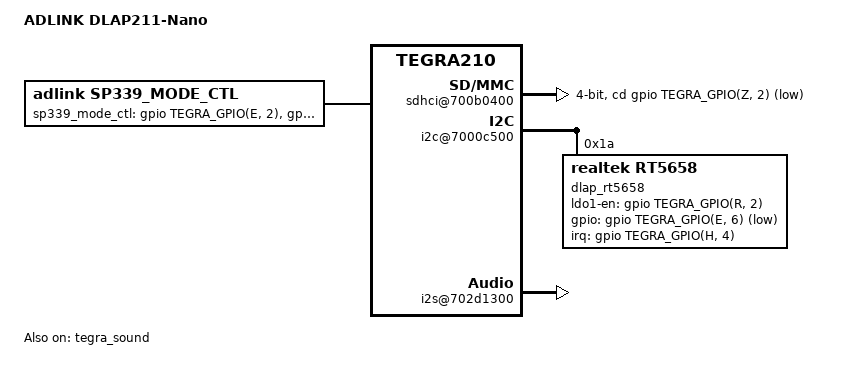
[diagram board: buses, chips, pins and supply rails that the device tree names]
/*
 * arch/arm64/boot/dts/tegra210-p3448-0002-p3449-0000-b00.dts
 *
 * Copyright (c) 2018-2019, NVIDIA CORPORATION.  All rights reserved.
 *
 * This program is free software; you can redistribute it and/or modify
 * it under the terms of the GNU General Public License as published by
 * the Free Software Foundation; version 2 of the License.
 *
 * This program is distributed in the hope that it will be useful, but WITHOUT
 * ANY WARRANTY; without even the implied warranty of MERCHANTABILITY or
 * FITNESS FOR A PARTICULAR PURPOSE.  See the GNU General Public License for
 * more details.
 *
 * You should have received a copy of the GNU General Public License along
 * with this program; if not, write to the Free Software Foundation, Inc.,
 * 51 Franklin Street, Fifth Floor, Boston, MA  02110-1301, USA.
 *
 */
#include <dt-bindings/sound/rt5659.h>

/ {
	model = "ADLINK DLAP211-Nano";

	pcie@1003000 {
		iommus = <&smmu TEGRA_SWGROUP_AFI>;
		iommu-map = <0x0 &smmu TEGRA_SWGROUP_AFI 0x1000>;
		iommu-map-mask = <0x0>;
	};

	sdhci@700b0400 {
		bus-width = <4>;
		cd-inverted;
		disable-wp;
		cd-gpios = <&gpio TEGRA_GPIO(Z, 2) 0>;
		keep-power-in-suspend;
		nvidia,vmmc-always-on;
		status = "okay";
	};

	/delete-node/ leds;
	cam_i2cmux {
		/delete-property/ mux-gpios;
	};

	/* disable pwm-fan , due to didn't use */
	pwm-fan {
		status = "disabled";
	};

	pfsd {
		/* conflict to SD cd pin */
		/delete-property/ tach_gpio;
		/delete-property/ pwm_gpio;
	};

	/* DLAP-211 RS232/485 MUX */
	sp339_mode_ctl:sp339_mode_ctl{
		compatible = "adlink,sp339_mode_ctl";
		sp339_mode_ctl = <&gpio TEGRA_GPIO(E, 2)  0>,
				 <&gpio TEGRA_GPIO(Z, 0)  0>;

		/* modectl_gpio_reverse :
		 *   1: cpu set high, sp339 get low
		 *   0: cpu set high, sp339 get high
		 */
		modectl_gpio_reverse = <1>;
		status = "okay";
	};

	bcmdhd_pcie_wlan {
		compatible = "android,bcmdhd_pcie_wlan";
		fw_path = "/vendor/firmware/fw_bcmdhd_4356.bin";
		nv_path = "/vendor/firmware/nvram_4356.txt";
		status = "okay";
	};

	i2c@7000c500 {
		status ="okay";
		dlap_rt5658: rt5659.1-001a@1a {
			compatible = "realtek,rt5658";
			reg = <0x1a>;
			status = "okay";

			interrupt-parent = <&gpio>;
			interrupts = <TEGRA_GPIO(H, 4) GPIO_ACTIVE_HIGH>;
			realtek,ldo1-en-gpios = <&gpio TEGRA_GPIO(R, 2) GPIO_ACTIVE_HIGH>;

			//clocks = <&bpmp_clks TEGRA194_CLK_AUD_MCLK>;
			//clock-names = "mclk";

			/* gpio for jack detection */
			gpios = <&gpio TEGRA_GPIO(E, 6) GPIO_ACTIVE_LOW>;

			/* refer include/sound/rt5659.h for the values to be used */
			realtek,jd-src = <RT5659_JD3>; /* RT5659_IN1P */
			realtek,dmic1-data-pin = <RT5659_DMIC1_NULL>;
			realtek,dmic2-data-pin = <RT5659_DMIC2_NULL>;
		};
	};

	ahub {
		i2s@702d1300 {
			pinctrl-names = "dap_active", "dap_inactive";
			pinctrl-0 = <&i2s4_dap_active_state>;
			pinctrl-1 = <>;
			status = "okay";
		};
	};

	pinmux@700008d4 {
		common {
			spi1_mosi_pc0 {
				nvidia,pins = "spi1_mosi_pc0";
				nvidia,function = "spi1";
				nvidia,pull = <TEGRA_PIN_PULL_NONE>;
				nvidia,tristate = <TEGRA_PIN_DISABLE>;
				nvidia,enable-input = <TEGRA_PIN_DISABLE>;
			};

			spi1_miso_pc1 {
				nvidia,pins = "spi1_miso_pc1";
				nvidia,function = "spi1";
				nvidia,pull = <TEGRA_PIN_PULL_NONE>;
				nvidia,tristate = <TEGRA_PIN_ENABLE>;
				nvidia,enable-input = <TEGRA_PIN_ENABLE>;
			};

			spi1_sck_pc2 {
				nvidia,pins = "spi1_sck_pc2";
				nvidia,function = "spi1";
				nvidia,pull = <TEGRA_PIN_PULL_NONE>;
				nvidia,tristate = <TEGRA_PIN_DISABLE>;
				nvidia,enable-input = <TEGRA_PIN_DISABLE>;
			};

			spi1_cs0_pc3 {
				nvidia,pins = "spi1_cs0_pc3";
				nvidia,function = "spi1";
				nvidia,pull = <TEGRA_PIN_PULL_UP>;
				nvidia,tristate = <TEGRA_PIN_DISABLE>;
				nvidia,enable-input = <TEGRA_PIN_DISABLE>;
			};

			spi1_cs1_pc4 {
				nvidia,pins = "spi1_cs1_pc4";
				nvidia,function = "spi1";
				nvidia,pull = <TEGRA_PIN_PULL_UP>;
				nvidia,tristate = <TEGRA_PIN_DISABLE>;
				nvidia,enable-input = <TEGRA_PIN_DISABLE>;
			};

			spi2_mosi_pb4 {
				nvidia,pins = "spi2_mosi_pb4";
				nvidia,function = "spi2";
				nvidia,pull = <TEGRA_PIN_PULL_NONE>;
				nvidia,tristate = <TEGRA_PIN_DISABLE>;
				nvidia,enable-input = <TEGRA_PIN_DISABLE>;
			};

			spi2_miso_pb5 {
				nvidia,pins = "spi2_miso_pb5";
				nvidia,function = "spi2";
				nvidia,pull = <TEGRA_PIN_PULL_NONE>;
				nvidia,tristate = <TEGRA_PIN_ENABLE>;
				nvidia,enable-input = <TEGRA_PIN_ENABLE>;
			};

			spi2_sck_pb6 {
				nvidia,pins = "spi2_sck_pb6";
				nvidia,function = "spi2";
				nvidia,pull = <TEGRA_PIN_PULL_NONE>;
				nvidia,tristate = <TEGRA_PIN_DISABLE>;
				nvidia,enable-input = <TEGRA_PIN_DISABLE>;
			};

			spi2_cs0_pb7 {
				nvidia,pins = "spi2_cs0_pb7";
				nvidia,function = "spi2";
				nvidia,pull = <TEGRA_PIN_PULL_UP>;
				nvidia,tristate = <TEGRA_PIN_DISABLE>;
				nvidia,enable-input = <TEGRA_PIN_DISABLE>;
			};

			spi2_cs1_pdd0 {
				nvidia,pins = "spi2_cs1_pdd0";
				nvidia,function = "spi2";
				nvidia,pull = <TEGRA_PIN_PULL_UP>;
				nvidia,tristate = <TEGRA_PIN_DISABLE>;
				nvidia,enable-input = <TEGRA_PIN_DISABLE>;
			};

			uart2_tx_pg0 {
				nvidia,pins = "uart2_tx_pg0";
				nvidia,function = "uartb";
				nvidia,pull = <TEGRA_PIN_PULL_NONE>;
				nvidia,tristate = <TEGRA_PIN_DISABLE>;
				nvidia,enable-input = <TEGRA_PIN_DISABLE>;
			};

			uart2_rx_pg1 {
				nvidia,pins = "uart2_rx_pg1";
				nvidia,function = "uartb";
				nvidia,pull = <TEGRA_PIN_PULL_DOWN>;
				nvidia,tristate = <TEGRA_PIN_DISABLE>;
				nvidia,enable-input = <TEGRA_PIN_ENABLE>;
			};

			uart2_rts_pg2 {
				nvidia,pins = "uart2_rts_pg2";
				nvidia,function = "uartb";
				nvidia,pull = <TEGRA_PIN_PULL_DOWN>;
				nvidia,tristate = <TEGRA_PIN_DISABLE>;
				nvidia,enable-input = <TEGRA_PIN_DISABLE>;
			};

			uart2_cts_pg3 {
				nvidia,pins = "uart2_cts_pg3";
				nvidia,function = "uartb";
				nvidia,pull = <TEGRA_PIN_PULL_DOWN>;
				nvidia,tristate = <TEGRA_PIN_DISABLE>;
				nvidia,enable-input = <TEGRA_PIN_ENABLE>;
			};

			aud_mclk_pbb0 {
				nvidia,pins = "aud_mclk_pbb0";
				nvidia,function = "aud";
				nvidia,pull = <TEGRA_PIN_PULL_UP>;
				nvidia,tristate = <TEGRA_PIN_DISABLE>;
				nvidia,enable-input = <TEGRA_PIN_DISABLE>;
			};
		};

		i2s4_dap_active_state: i2s4_dap_active_state {
			dap4_fs_pj4 {
				nvidia,pins = "dap4_fs_pj4";
				nvidia,function = "i2s4b";
				nvidia,pull = <TEGRA_PIN_PULL_DOWN>;
				nvidia,tristate = <TEGRA_PIN_DISABLE>;
				nvidia,enable-input = <TEGRA_PIN_ENABLE>;
				nvidia,lpdr = <TEGRA_PIN_DISABLE>;
				status = "okay";
			};

			dap4_din_pj5 {
				nvidia,pins = "dap4_din_pj5";
				nvidia,function = "i2s4b";
				nvidia,pull = <TEGRA_PIN_PULL_DOWN>;
				nvidia,tristate = <TEGRA_PIN_ENABLE>;
				nvidia,enable-input = <TEGRA_PIN_ENABLE>;
				nvidia,lpdr = <TEGRA_PIN_DISABLE>;
				status = "okay";
			};

			dap4_dout_pj6 {
				nvidia,pins = "dap4_dout_pj6";
				nvidia,function = "i2s4b";
				nvidia,pull = <TEGRA_PIN_PULL_DOWN>;
				nvidia,tristate = <TEGRA_PIN_DISABLE>;
				nvidia,enable-input = <TEGRA_PIN_DISABLE>;
				nvidia,lpdr = <TEGRA_PIN_DISABLE>;
				status = "okay";
			};

			dap4_sclk_pj7 {
				nvidia,pins = "dap4_sclk_pj7";
				nvidia,function = "i2s4b";
				nvidia,pull = <TEGRA_PIN_PULL_DOWN>;
				nvidia,tristate = <TEGRA_PIN_DISABLE>;
				nvidia,enable-input = <TEGRA_PIN_ENABLE>;
				nvidia,lpdr = <TEGRA_PIN_DISABLE>;
				status = "okay";
			};
		};
	};
};

&tegra_sound {
	status = "okay";
	nvidia,num-codec-link = <1>;
	compatible = "nvidia,tegra-audio-t210ref-mobile-rt565x";
	nvidia,model = "tegra-snd-t210ref-mobile-rt565x";

	clocks = <&tegra_car TEGRA210_CLK_PLL_A>,
		 <&tegra_car TEGRA210_CLK_PLL_A_OUT0>,
		 <&tegra_car TEGRA210_CLK_EXTERN1>;
	clock-names = "pll_a", "pll_a_out0", "extern1";
	assigned-clocks = <&tegra_car TEGRA210_CLK_EXTERN1>,
			  <&tegra_car TEGRA210_CLK_PLL_A_OUT0>,
			  <&tegra_car TEGRA210_CLK_PLL_A>;
	assigned-clock-parents = <&tegra_car TEGRA210_CLK_PLL_A_OUT0>;
	assigned-clock-rates = <12288000>, <49152000>, <368640000>;

	nvidia,audio-routing =
		"x Headphone Jack",     "x HPO L Playback",
		"x Headphone Jack",     "x HPO R Playback",
		"x IN1P",               "x Mic Jack";

	mclk-fs = <256>;
	rt565x_dai_link: nvidia,dai-link-1 {
		link-name = "rt565x-playback";
		codec-dai = <&dlap_rt5658>;
		codec-dai-name = "rt5659-aif1";
		cpu-dai = <&tegra_i2s4>;
		cpu-dai-name = "I2S4";
		format = "i2s";
		bit-format = "s16_le";
		bclk_ratio = <1>;
		srate = <48000>;
		num-channel = <2>;
		ignore_suspend;

		name-prefix = "x";
		status = "okay";
	};

	/delete-node/ nvidia,dai-link-2;
	/delete-node/ nvidia,dai-link-3;
	/delete-node/ nvidia,dai-link-4;
	/delete-node/ nvidia,dai-link-5;
	/delete-node/ nvidia,dai-link-6;
	/delete-node/ nvidia,dai-link-7;
	/delete-node/ nvidia,dai-link-8;
	/delete-node/ nvidia,dai-link-9;
	/delete-node/ nvidia,dai-link-10;
};
